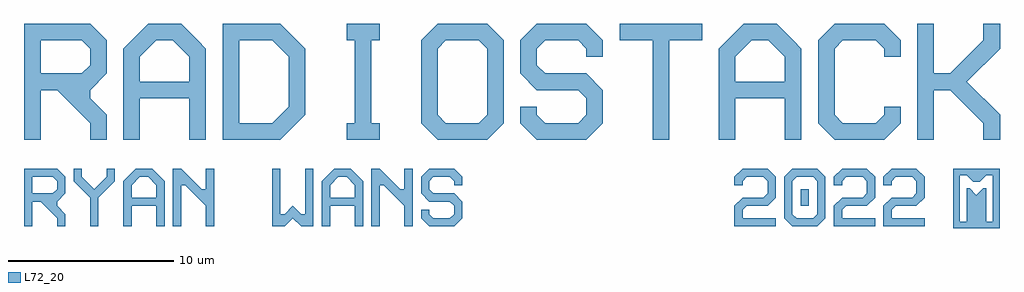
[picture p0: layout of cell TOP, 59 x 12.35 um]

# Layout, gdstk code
import gdstk
lib = gdstk.Library(unit=1e-6, precision=1e-09)
def R(c, l, rs):  # rectangles x0, y0, x1, y1
    for r in rs: c.add(gdstk.rectangle(r[:2], r[2:], *l))
def P(c, l, *ps):  # polygons
    for p in ps: c.add(gdstk.Polygon(p, *l))
L72_20 = (72, 20)

text_5 = lib.new_cell('TEXT$5')
P(text_5, L72_20, [(0,0),(0,7),(4,7),(5,6),(1,6),(1,4),(3.5,4),(4,4.5),(4,5.5),(3.5,6),(5,6),(5,4),(4,3),(4,2.5),(5,1.5),(5,0),(4,0),(4,1),(2,3),(1,3),(1,0)],
  [(6,0),(6,5.5),(7.5,7),(9.5,7),(10.5,6),(8,6),(7,5),(7,3.5),(10,3.5),(10,5),(9,6),(10.5,6),(11,5.5),(11,0),(10,0),(10,2.5),(7,2.5),(7,0)],
  [(12,0),(12,7),(15.5,7),(16.5,6),(13,6),(13,1),(15,1),(16,2),(16,5),(15,6),(16.5,6),(17,5.5),(17,1.5),(15.5,0)],
  [(19.5,0),(19.5,1),(20,1),(20,6),(19.5,6),(19.5,7),(21.5,7),(21.5,6),(21,6),(21,1),(21.5,1),(21.5,0)],
  [(25,0),(24,1),(24,6),(25,7),(28,7),(29,6),(29,3.5),(28,3.5),(28,5.5),(27.5,6),(25.5,6),(25,5.5),(25,1.5),(25.5,1),(27.5,1),(28,1.5),(28,3.5),(29,3.5),(29,1),(28,0)],
  [(31,0),(30,1),(30,2),(31,2),(31,1.5),(31.5,1),(33.5,1),(34,1.5),(34,2.5),(33.5,3),(31,3),(30,4),(30,6),(31,7),(34,7),(35,6),(35,5),(34,5),(34,5.5),(33.5,6),(31.5,6),(31,5.5),(31,4.5),(31.5,4),(34,4),(35,3),(35,1),(34,0)],
  [(38,0),(38,6),(36,6),(36,7),(41,7),(41,6),(39,6),(39,0)],
  [(42,0),(42,5.5),(43.5,7),(45.5,7),(46.5,6),(44,6),(43,5),(43,3.5),(46,3.5),(46,5),(45,6),(46.5,6),(47,5.5),(47,0),(46,0),(46,2.5),(43,2.5),(43,0)],
  [(49,0),(48,1),(48,6),(49,7),(52,7),(53,6),(53,5),(52,5),(52,5.5),(51.5,6),(49.5,6),(49,5.5),(49,1.5),(49.5,1),(51.5,1),(52,1.5),(52,2),(53,2),(53,1),(52,0)],
  [(54,0),(54,7),(55,7),(55,4),(56,4),(58,6),(58,7),(59,7),(59,5.5),(57,3.5),(59,1.5),(59,0),(58,0),(58,1),(56,3),(55,3),(55,0)])

text_4 = lib.new_cell('TEXT$4')
P(text_4, L72_20, [(0,0),(0,3.5),(2,3.5),(2.5,3),(0.5,3),(0.5,2),(1.75,2),(2,2.25),(2,2.75),(1.75,3),(2.5,3),(2.5,2),(2,1.5),(2,1.25),(2.5,0.75),(2.5,0),(2,0),(2,0.5),(1,1.5),(0.5,1.5),(0.5,0)],
  [(4,0),(4,1.75),(3,2.75),(3,3.5),(3.5,3.5),(3.5,3),(4.25,2.25),(5,3),(5,3.5),(5.5,3.5),(5.5,2.75),(4.5,1.75),(4.5,0)],
  [(6,0),(6,2.75),(6.75,3.5),(7.75,3.5),(8.25,3),(7,3),(6.5,2.5),(6.5,1.75),(8,1.75),(8,2.5),(7.5,3),(8.25,3),(8.5,2.75),(8.5,0),(8,0),(8,1.25),(6.5,1.25),(6.5,0)],
  [(9,0),(9,3.5),(9.5,3.5),(10.75,2.25),(11,2.25),(11,3.5),(11.5,3.5),(11.5,0),(11,0),(11,1.25),(9.75,2.5),(9.5,2.5),(9.5,0)],
  [(15,0),(15,3.5),(15.5,3.5),(15.5,0.75),(15.75,0.75),(16.25,1.25),(16.75,0.75),(17,0.75),(17,3.5),(17.5,3.5),(17.5,0),(16.75,0),(16.25,0.5),(15.75,0)],
  [(18,0),(18,2.75),(18.75,3.5),(19.75,3.5),(20.25,3),(19,3),(18.5,2.5),(18.5,1.75),(20,1.75),(20,2.5),(19.5,3),(20.25,3),(20.5,2.75),(20.5,0),(20,0),(20,1.25),(18.5,1.25),(18.5,0)],
  [(21,0),(21,3.5),(21.5,3.5),(22.75,2.25),(23,2.25),(23,3.5),(23.5,3.5),(23.5,0),(23,0),(23,1.25),(21.75,2.5),(21.5,2.5),(21.5,0)],
  [(24.5,0),(24,0.5),(24,1),(24.5,1),(24.5,0.75),(24.75,0.5),(25.75,0.5),(26,0.75),(26,1.25),(25.75,1.5),(24.5,1.5),(24,2),(24,3),(24.5,3.5),(26,3.5),(26.5,3),(26.5,2.5),(26,2.5),(26,2.75),(25.75,3),(24.75,3),(24.5,2.75),(24.5,2.25),(24.75,2),(26,2),(26.5,1.5),(26.5,0.5),(26,0)])

text_6 = lib.new_cell('TEXT$6')
P(text_6, L72_20, [(-0.4,-0.4),(-0.4,2.8),(1.6,2.8),(1.2,2.4),(0.8,2.4),(0.4,2.8),(0,2.8),(0,0),(0.4,0),(0.4,2),(0.6,2),(1,1.6),(1.4,2),(1.6,2),(1.6,0),(2,0),(2,2.8),(-0.4,2.8),(-0.4,3.2),(2.4,3.2),(2.4,-0.4)])

text_7 = lib.new_cell('TEXT$7')
R(text_7, L72_20, [(4,1.25,4.5,2.25)])
P(text_7, L72_20, [(0,0),(0,1.25),(0.5,1.75),(1.75,1.75),(2,2),(2,2.75),(1.75,3),(0.75,3),(0.5,2.75),(0.5,2.5),(0,2.5),(0,3),(0.5,3.5),(2,3.5),(2.5,3),(2.5,1.75),(2,1.25),(0.75,1.25),(0.5,1),(0.5,0.5),(2.5,0.5),(2.5,0)],
  [(3.5,0),(3,0.5),(3,3),(3.5,3.5),(5,3.5),(5.5,3),(3.75,3),(3.5,2.75),(3.5,0.75),(3.75,0.5),(4.75,0.5),(5,0.75),(5,2.75),(4.75,3),(5.5,3),(5.5,0.5),(5,0)],
  [(6,0),(6,1.25),(6.5,1.75),(7.75,1.75),(8,2),(8,2.75),(7.75,3),(6.75,3),(6.5,2.75),(6.5,2.5),(6,2.5),(6,3),(6.5,3.5),(8,3.5),(8.5,3),(8.5,1.75),(8,1.25),(6.75,1.25),(6.5,1),(6.5,0.5),(8.5,0.5),(8.5,0)],
  [(9,0),(9,1.25),(9.5,1.75),(10.75,1.75),(11,2),(11,2.75),(10.75,3),(9.75,3),(9.5,2.75),(9.5,2.5),(9,2.5),(9,3),(9.5,3.5),(11,3.5),(11.5,3),(11.5,1.75),(11,1.25),(9.75,1.25),(9.5,1),(9.5,0.5),(11.5,0.5),(11.5,0)])

top = lib.new_cell('TOP')
top.add(gdstk.Reference(text_5, (0.085,-0.25)))
top.add(gdstk.Reference(text_4, (0.085,-5.5)))
top.add(gdstk.Reference(text_6, (56.66,-5.2)))
top.add(gdstk.Reference(text_7, (43.035,-5.5)))

lib.write_gds('TOP.gds')
